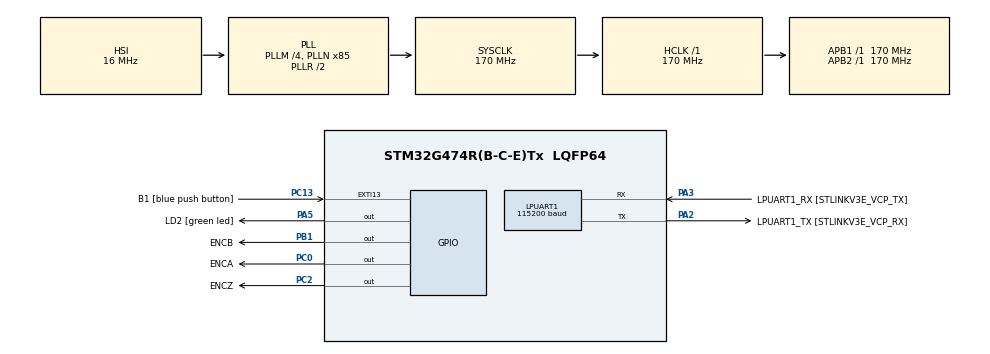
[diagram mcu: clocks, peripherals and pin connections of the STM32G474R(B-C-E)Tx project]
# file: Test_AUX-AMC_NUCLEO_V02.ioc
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LPUART1.BaudRate=115200
LPUART1.WordLength=UART_WORDLENGTH_8B
Mcu.Family=STM32G4
Mcu.Name=STM32G474R(B-C-E)Tx
Mcu.Package=LQFP64
NVIC.EXTI15_10_IRQn=true\:0\:0\:false\:false\:true\:true\:true\:true
NVIC.PriorityGroup=NVIC_PRIORITYGROUP_4
NVIC.TIM1_UP_TIM16_IRQn=true\:0\:0\:false\:false\:true\:true\:true\:true
PA13.GPIO_Label=T_SWDIO
PA13.Mode=Serial_Wire
PA13.Signal=SYS_JTMS-SWDIO
PA14.GPIO_Label=T_SWCLK
PA14.Mode=Serial_Wire
PA14.Signal=SYS_JTCK-SWCLK
PA2.GPIO_Label=LPUART1_TX [STLINKV3E_VCP_RX]
PA2.Mode=Asynchronous
PA2.Signal=LPUART1_TX
PA3.GPIO_Label=LPUART1_RX [STLINKV3E_VCP_TX]
PA3.Mode=Asynchronous
PA3.Signal=LPUART1_RX
PA5.GPIO_Label=LD2 [green led]
PA5.Signal=GPIO_Output
PB1.GPIO_Label=ENCB
PB1.Signal=GPIO_Output
PB3.GPIO_Label=T_SWO
PB3.Signal=SYS_JTDO-SWO
PC0.GPIO_Label=ENCA
PC0.Signal=GPIO_Output
PC13.GPIO_Label=B1 [blue push button]
PC13.Signal=GPXTI13
PC14-OSC32_IN.Mode=LSE-External-Oscillator
PC14-OSC32_IN.Signal=RCC_OSC32_IN
PC15-OSC32_OUT.Mode=LSE-External-Oscillator
PC15-OSC32_OUT.Signal=RCC_OSC32_OUT
PC2.GPIO_Label=ENCZ
PC2.Signal=GPIO_Output
PF0-OSC_IN.Mode=HSE-External-Oscillator
PF0-OSC_IN.Signal=RCC_OSC_IN
PF1-OSC_OUT.Mode=HSE-External-Oscillator
PF1-OSC_OUT.Signal=RCC_OSC_OUT
ProjectManager.HeapSize=0x200
ProjectManager.StackSize=0x400
ProjectManager.TargetToolchain=MDK-ARM V5.27
RCC.ADC12Freq_Value=170000000
RCC.ADC345Freq_Value=170000000
RCC.AHBFreq_Value=170000000
RCC.APB1Freq_Value=170000000
RCC.APB1TimFreq_Value=170000000
RCC.APB2Freq_Value=170000000
RCC.APB2TimFreq_Value=170000000
RCC.CortexFreq_Value=170000000
RCC.EXTERNAL_CLOCK_VALUE=12288000
RCC.HCLKFreq_Value=170000000
RCC.HSE_VALUE=24000000
RCC.HSI48_VALUE=48000000
RCC.HSI_VALUE=16000000
RCC.PLLM=RCC_PLLM_DIV4
RCC.PLLN=85
RCC.RTCClockSelection=RCC_RTCCLKSOURCE_LSE
RCC.SYSCLKFreq_VALUE=170000000
RCC.SYSCLKSource=RCC_SYSCLKSOURCE_PLLCLK
RCC.USBFreq_Value=170000000
RCC.VCOOutputFreq_Value=340000000
TIM16.Prescaler=169
VP_SYS_VS_DBSignals.Mode=DisableDeadBatterySignals
VP_TIM16_VS_ClockSourceINT.Mode=Enable_Timer
board=NUCLEO-G474RE

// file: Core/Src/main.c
/* USER CODE BEGIN Header */
/**
  ******************************************************************************
  * @file           : main.c
  * @brief          : Main program body
  ******************************************************************************
  * @attention
  *
  * Copyright (c) 2024 STMicroelectronics.
  * All rights reserved.
  *
  * This software is licensed under terms that can be found in the LICENSE file
  * in the root directory of this software component.
  * If no LICENSE file comes with this software, it is provided AS-IS.
  *
  ******************************************************************************
  */
/* USER CODE END Header */
#include "main.h"
#include "usart.h"
#include "tim.h"
#include "gpio.h"

/* USER CODE BEGIN Includes */
#include "stdbool.h"
/* USER CODE END Includes */

/* USER CODE BEGIN PD */
#define TIM_TIME htim16

/* USER CODE END PD */

/* USER CODE BEGIN PV */
volatile unsigned long counter = 0;
volatile unsigned long t = 0;                   // Current temp set 0
volatile unsigned long dt = 0;                  // Temporal difference 0
bool state1 = true;                    // Flag state for square wave 1

/* USER CODE END PV */

void SystemClock_Config(void);
/* USER CODE BEGIN PFP */
unsigned long micros_asolari(void);
/* USER CODE END PFP */

int main(void)
{
  /* USER CODE BEGIN 1 */
	uint16_t timer_val;

  /* USER CODE END 1 */

  /* MCU Configuration--------------------------------------------------------*/

  /* Reset of all peripherals, Initializes the Flash interface and the Systick. */
  HAL_Init();

  /* Configure the system clock */
  SystemClock_Config();

  /* Initialize all configured peripherals */
  MX_GPIO_Init();
  MX_LPUART1_UART_Init();
  MX_TIM16_Init();
  /* USER CODE BEGIN 2 */

	// Start timer
	HAL_TIM_Base_Start_IT(&TIM_TIME);

  /* USER CODE END 2 */

  /* Infinite loop */
  while (1)
  {

    /* USER CODE BEGIN 3 */

		dt = micros_asolari()-t;
//		HAL_GPIO_ReadPin(ENCA_GPIO_Port,ENCA_Pin);

		if (dt >=1)
		{

	   state1 = !state1;
		 HAL_GPIO_WritePin(ENCA_GPIO_Port,ENCA_Pin,state1);
		 t = micros_asolari();

		}

		//HAL_GPIO_TogglePin(ENCA_GPIO_Port, ENCA_Pin);
	}
}
  /* USER CODE END 3 */

void SystemClock_Config(void)
{
  RCC_OscInitTypeDef RCC_OscInitStruct = {0};
  RCC_ClkInitTypeDef RCC_ClkInitStruct = {0};

  /** Configure the main internal regulator output voltage
  */
  HAL_PWREx_ControlVoltageScaling(PWR_REGULATOR_VOLTAGE_SCALE1_BOOST);

  /** Initializes the RCC Oscillators according to the specified parameters
  * in the RCC_OscInitTypeDef structure.
  */
  RCC_OscInitStruct.OscillatorType = RCC_OSCILLATORTYPE_HSI;
  RCC_OscInitStruct.HSIState = RCC_HSI_ON;
  RCC_OscInitStruct.HSICalibrationValue = RCC_HSICALIBRATION_DEFAULT;
  RCC_OscInitStruct.PLL.PLLState = RCC_PLL_ON;
  RCC_OscInitStruct.PLL.PLLSource = RCC_PLLSOURCE_HSI;
  RCC_OscInitStruct.PLL.PLLM = RCC_PLLM_DIV4;
  RCC_OscInitStruct.PLL.PLLN = 85;
  RCC_OscInitStruct.PLL.PLLP = RCC_PLLP_DIV2;
  RCC_OscInitStruct.PLL.PLLQ = RCC_PLLQ_DIV2;
  RCC_OscInitStruct.PLL.PLLR = RCC_PLLR_DIV2;
  if (HAL_RCC_OscConfig(&RCC_OscInitStruct) != HAL_OK)
  {
    Error_Handler();
  }

  /** Initializes the CPU, AHB and APB buses clocks
  */
  RCC_ClkInitStruct.ClockType = RCC_CLOCKTYPE_HCLK|RCC_CLOCKTYPE_SYSCLK
                              |RCC_CLOCKTYPE_PCLK1|RCC_CLOCKTYPE_PCLK2;
  RCC_ClkInitStruct.SYSCLKSource = RCC_SYSCLKSOURCE_PLLCLK;
  RCC_ClkInitStruct.AHBCLKDivider = RCC_SYSCLK_DIV1;
  RCC_ClkInitStruct.APB1CLKDivider = RCC_HCLK_DIV1;
  RCC_ClkInitStruct.APB2CLKDivider = RCC_HCLK_DIV1;

  if (HAL_RCC_ClockConfig(&RCC_ClkInitStruct, FLASH_LATENCY_4) != HAL_OK)
  {
    Error_Handler();
  }
}

/* USER CODE BEGIN 4 */

unsigned long micros_asolari(void)
{
	return ((__HAL_TIM_GET_COUNTER(&TIM_TIME) + (counter << 16) ) );

}

//here i use the interrupt callback when timer roll over
void HAL_TIM_PeriodElapsedCallback(TIM_HandleTypeDef *htim)
{

  /* NOTE : This function should not be modified, when the callback is needed,
            the HAL_TIM_PeriodElapsedCallback could be implemented in the user file
   */

	//check the callback and toggle the GPIO pin
	if (htim == &TIM_TIME)
	{
		HAL_GPIO_TogglePin(ENCB_GPIO_Port, ENCB_Pin);
		counter++;
  }
}
/* USER CODE END 4 */

void Error_Handler(void)
{
  __disable_irq();
  while (1)
  {
  }
}
